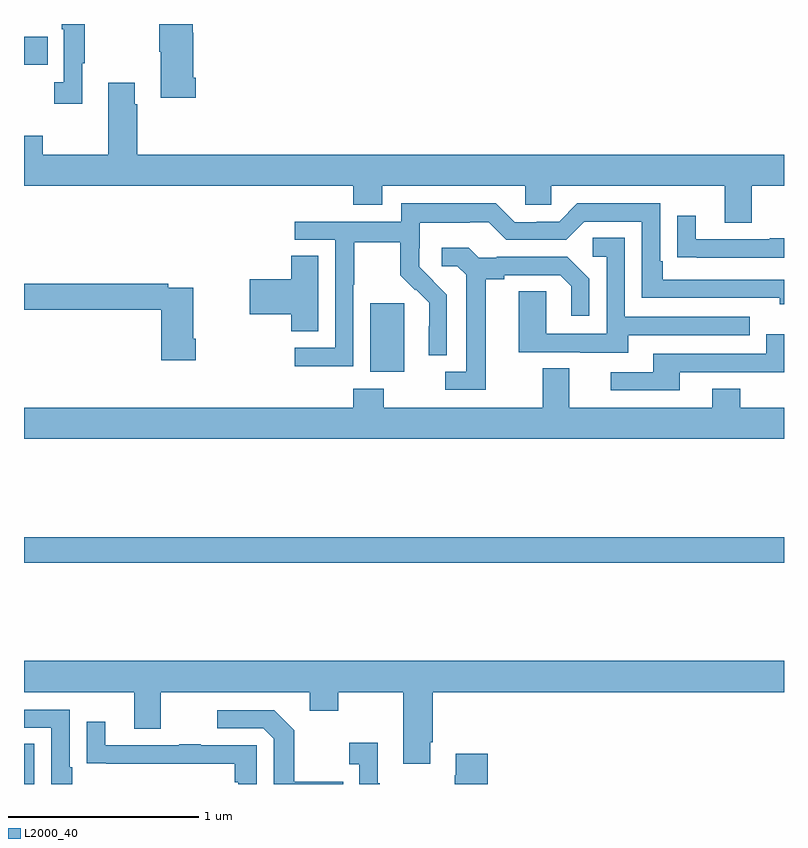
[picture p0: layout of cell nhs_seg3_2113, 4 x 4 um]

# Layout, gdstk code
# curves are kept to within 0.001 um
import gdstk
lib = gdstk.Library(unit=1e-6, precision=1e-09)
def R(c, l, rs):  # rectangles x0, y0, x1, y1
    for r in rs: c.add(gdstk.rectangle(r[:2], r[2:], *l))
def P(c, l, *ps):  # polygons
    for p in ps: c.add(gdstk.Polygon(p, *l))
L2000_40 = (2000, 40)

nhs_seg3_2113 = lib.new_cell('nhs_seg3_2113')
R(nhs_seg3_2113, L2000_40, [(219,732.4,219.054,732.611), (219,733.564,223,733.7), (220.823,734.57,221.002,734.931), (219,736.186,219.125,736.333)])
P(nhs_seg3_2113, L2000_40, [(219.307,736.193),(219.319,736.193),(219.319,736.4),(219.198,736.4),(219.198,736.373),(219.21,736.373),(219.21,736.094),(219.159,736.094),(219.159,735.981),(219.307,735.981)],
  [(219.905,736.117),(219.892,736.117),(219.892,736.353),(219.887,736.353),(219.887,736.4),(219.712,736.4),(219.712,736.253),(219.719,736.253),(219.719,736.013),(219.905,736.013)],
  [(222.829,735.548),(223,735.548),(223,735.712),(219.596,735.712),(219.596,735.977),(219.583,735.977),(219.583,736.09),(219.443,736.09),(219.443,735.712),(219.099,735.712),(219.099,735.811),(219,735.811),(219,735.548),(220.733,735.548),(220.733,735.449),(220.885,735.449),(220.885,735.548),(221.637,735.548),(221.637,735.45),(221.775,735.45),(221.775,735.548),(222.689,735.548),(222.689,735.354),(222.829,735.354)],
  [(220.734,735.028),(220.737,735.028),(220.737,735.252),(220.981,735.252),(220.981,735.077),(221.058,735),(221.061,735.003),(221.132,734.933),(221.132,734.81),(221.13,734.81),(221.13,734.656),(221.226,734.656),(221.226,734.974),(221.08,735.122),(221.08,735.219),(221.082,735.219),(221.082,735.353),(221.345,735.353),(221.345,735.357),(221.445,735.357),(221.538,735.264),(221.853,735.264),(221.949,735.36),(222.252,735.36),(222.252,734.958),(222.977,734.958),(222.977,734.924),(223,734.924),(223,735.054),(222.361,735.054),(222.361,735.151),(222.348,735.151),(222.348,735.456),(221.913,735.456),(221.817,735.36),(221.699,735.36),(221.699,735.357),(221.583,735.357),(221.483,735.457),(220.986,735.457),(220.986,735.36),(220.425,735.36),(220.425,735.264),(220.638,735.264),(220.638,734.697),(220.425,734.697),(220.425,734.599),(220.734,734.599)],
  [(223,735.272),(222.925,735.272),(222.925,735.267),(222.535,735.267),(222.535,735.391),(222.439,735.391),(222.439,735.172),(222.541,735.172),(222.541,735.171),(223,735.171)],
  [(222.181,734.763),(222.821,734.763),(222.821,734.859),(222.162,734.859),(222.162,735.275),(221.994,735.275),(221.994,735.174),(222.066,735.174),(222.066,734.769),(221.748,734.769),(221.748,734.993),(221.603,734.993),(221.603,734.673),(221.927,734.673),(221.927,734.669),(222.181,734.669)],
  [(221.431,735.056),(221.527,735.056),(221.527,735.078),(221.822,735.078),(221.879,735.021),(221.879,734.865),(221.976,734.865),(221.976,735.058),(221.86,735.174),(221.488,735.174),(221.488,735.171),(221.394,735.171),(221.342,735.223),(221.199,735.223),(221.199,735.126),(221.28,735.126),(221.327,735.079),(221.327,734.571),(221.217,734.571),(221.217,734.475),(221.431,734.475)],
  [(220.549,735.179),(220.406,735.179),(220.406,735.056),(220.188,735.056),(220.188,734.873),(220.406,734.873),(220.406,734.782),(220.549,734.782)],
  [(219.905,734.743),(219.892,734.743),(219.892,735.012),(219.758,735.012),(219.758,735.032),(219,735.032),(219,734.896),(219.722,734.896),(219.722,734.631),(219.905,734.631)],
  [(222.451,734.568),(223,734.568),(223,734.767),(222.906,734.767),(222.906,734.664),(222.311,734.664),(222.311,734.568),(222.087,734.568),(222.087,734.472),(222.451,734.472)],
  [(223,734.38),(222.771,734.38),(222.771,734.479),(222.623,734.479),(222.623,734.38),(221.869,734.38),(221.869,734.588),(221.729,734.588),(221.729,734.38),(220.893,734.38),(220.893,734.479),(220.733,734.479),(220.733,734.38),(219,734.38),(219,734.216),(223,734.216)],
  [(221.137,732.619),(221.15,732.619),(221.15,732.884),(223,732.884),(223,733.048),(219,733.048),(219,732.884),(219.581,732.884),(219.581,732.69),(219.721,732.69),(219.721,732.884),(220.505,732.884),(220.505,732.785),(220.653,732.785),(220.653,732.884),(220.997,732.884),(220.997,732.507),(221.137,732.507)],
  [(219.253,732.487),(219.24,732.487),(219.24,732.792),(219,732.792),(219,732.696),(219.144,732.696),(219.144,732.4),(219.253,732.4)],
  [(220.679,732.411),(220.423,732.411),(220.423,732.683),(220.317,732.789),(220.017,732.789),(220.017,732.693),(220.26,732.693),(220.314,732.639),(220.314,732.4),(220.679,732.4)],
  [(220.224,732.603),(219.929,732.603),(219.929,732.608),(219.817,732.608),(219.817,732.603),(219.427,732.603),(219.427,732.727),(219.331,732.727),(219.331,732.508),(219.433,732.508),(219.433,732.507),(220.108,732.507),(220.108,732.41),(220.128,732.41),(220.128,732.4),(220.224,732.4)],
  [(220.873,732.403),(220.861,732.403),(220.861,732.616),(220.713,732.616),(220.713,732.503),(220.764,732.503),(220.764,732.4),(220.873,732.4)],
  [(221.441,732.559),(221.273,732.559),(221.273,732.446),(221.266,732.446),(221.266,732.4),(221.441,732.4)])

lib.write_gds('nhs_seg3_2113.gds')
